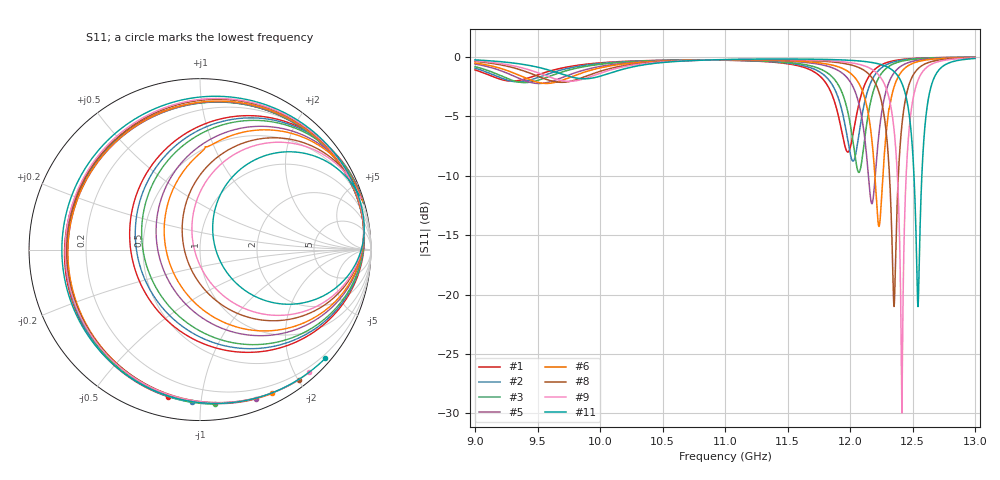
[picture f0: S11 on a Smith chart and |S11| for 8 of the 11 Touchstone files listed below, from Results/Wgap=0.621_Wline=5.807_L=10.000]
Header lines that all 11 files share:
! TOUCHSTONE file generated by CST DESIGN STUDIO
! Project name: C:\Work\MatlabApps\UnitCellOptimizationMatlab\CST\unitcell.cst
! Tree item: Tasks\Sweep1\SPara1\S-Parameters
! Header version: 2024
! Port assignment regex: !\s*Touchstone port\s*([0-9]+)\s*=\s*(CST MWS port|CST DES external port|CST DES block port)\s*(.+)\s* \(\"(.*)\"\)(\s*mode\s*([0-9]+))?.*
! Touchstone port assignment:
! Touchstone port 1 = CST DES external port 1 ("")
# GHz S MA R 50
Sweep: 9 GHz to 13 GHz
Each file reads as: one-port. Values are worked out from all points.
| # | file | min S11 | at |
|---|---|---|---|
| 1 | DS_for_MWS-run-0001.s1p | -8.0 dB | 11.98 GHz |
| 2 | DS_for_MWS-run-0002.s1p | -8.8 dB | 12.02 GHz |
| 3 | DS_for_MWS-run-0003.s1p | -9.7 dB | 12.07 GHz |
| 4 | DS_for_MWS-run-0004.s1p | -10.9 dB | 12.12 GHz |
| 5 | DS_for_MWS-run-0005.s1p | -12.4 dB | 12.18 GHz |
| 6 | DS_for_MWS-run-0006.s1p | -14.3 dB | 12.23 GHz |
| 7 | DS_for_MWS-run-0007.s1p | -16.9 dB | 12.29 GHz |
| 8 | DS_for_MWS-run-0008.s1p | -21.0 dB | 12.35 GHz |
| 9 | DS_for_MWS-run-0009.s1p | -30.0 dB | 12.41 GHz |
| 10 | DS_for_MWS-run-0010.s1p | -31.1 dB | 12.48 GHz |
| 11 | DS_for_MWS-run-0011.s1p | -21.0 dB | 12.54 GHz |
